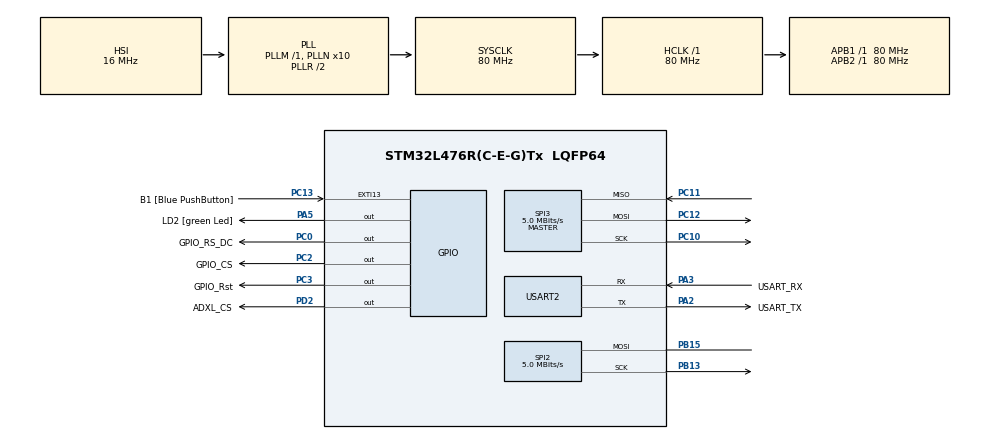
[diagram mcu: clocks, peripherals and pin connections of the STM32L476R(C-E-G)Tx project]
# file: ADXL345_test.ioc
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Mcu.Family=STM32L4
Mcu.Name=STM32L476R(C-E-G)Tx
Mcu.Package=LQFP64
NVIC.PriorityGroup=NVIC_PRIORITYGROUP_4
NVIC.SPI2_IRQn=true\:0\:0\:false\:false\:true\:true\:true
PA13\ (JTMS-SWDIO).GPIO_Label=TMS
PA13\ (JTMS-SWDIO).Mode=Serial_Wire
PA13\ (JTMS-SWDIO).Signal=SYS_JTMS-SWDIO
PA14\ (JTCK-SWCLK).GPIO_Label=TCK
PA14\ (JTCK-SWCLK).Mode=Serial_Wire
PA14\ (JTCK-SWCLK).Signal=SYS_JTCK-SWCLK
PA2.GPIO_Label=USART_TX
PA2.GPIO_Mode=GPIO_MODE_AF_PP
PA2.GPIO_PuPd=GPIO_NOPULL
PA2.GPIO_Speed=GPIO_SPEED_FREQ_VERY_HIGH
PA2.Mode=Asynchronous
PA2.Signal=USART2_TX
PA3.GPIO_Label=USART_RX
PA3.GPIO_Mode=GPIO_MODE_AF_PP
PA3.GPIO_PuPd=GPIO_NOPULL
PA3.GPIO_Speed=GPIO_SPEED_FREQ_VERY_HIGH
PA3.Mode=Asynchronous
PA3.Signal=USART2_RX
PA5.GPIO_Label=LD2 [green Led]
PA5.GPIO_ModeDefaultOutputPP=GPIO_MODE_OUTPUT_PP
PA5.GPIO_PuPd=GPIO_NOPULL
PA5.GPIO_Speed=GPIO_SPEED_FREQ_LOW
PA5.Signal=GPIO_Output
PB13.Mode=Simplex_Bidirectional_Master
PB13.Signal=SPI2_SCK
PB15.Mode=Simplex_Bidirectional_Master
PB15.Signal=SPI2_MOSI
PB3\ (JTDO-TRACESWO).GPIO_Label=SWO
PB3\ (JTDO-TRACESWO).Signal=SYS_JTDO-SWO
PC0.GPIO_Label=GPIO_RS_DC
PC0.Signal=GPIO_Output
PC10.Mode=Full_Duplex_Master
PC10.Signal=SPI3_SCK
PC11.Mode=Full_Duplex_Master
PC11.Signal=SPI3_MISO
PC12.Mode=Full_Duplex_Master
PC12.Signal=SPI3_MOSI
PC13.GPIO_Label=B1 [Blue PushButton]
PC13.GPIO_ModeDefaultEXTI=GPIO_MODE_IT_FALLING
PC13.GPIO_PuPd=GPIO_NOPULL
PC13.Signal=GPXTI13
PC14-OSC32_IN\ (PC14).Mode=LSE-External-Oscillator
PC14-OSC32_IN\ (PC14).Signal=RCC_OSC32_IN
PC15-OSC32_OUT\ (PC15).Mode=LSE-External-Oscillator
PC15-OSC32_OUT\ (PC15).Signal=RCC_OSC32_OUT
PC2.GPIO_Label=GPIO_CS
PC2.Signal=GPIO_Output
PC3.GPIO_Label=GPIO_Rst
PC3.Signal=GPIO_Output
PD2.GPIO_Label=ADXL_CS
PD2.GPIO_Speed=GPIO_SPEED_FREQ_HIGH
PD2.Signal=GPIO_Output
ProjectManager.HeapSize=0x200
ProjectManager.StackSize=0x400
ProjectManager.TargetToolchain=STM32CubeIDE
RCC.ADCFreq_Value=64000000
RCC.AHBFreq_Value=80000000
RCC.APB1Freq_Value=80000000
RCC.APB1TimFreq_Value=80000000
RCC.APB2Freq_Value=80000000
RCC.APB2TimFreq_Value=80000000
RCC.CortexFreq_Value=80000000
RCC.HCLKFreq_Value=80000000
RCC.HSE_VALUE=8000000
RCC.HSI_VALUE=16000000
RCC.MSI_VALUE=4000000
RCC.PLLN=10
RCC.PLLSourceVirtual=RCC_PLLSOURCE_HSI
RCC.PREFETCH_ENABLE=1
RCC.SYSCLKFreq_VALUE=80000000
RCC.SYSCLKSource=RCC_SYSCLKSOURCE_PLLCLK
RCC.USBFreq_Value=64000000
RCC.VCOOutputFreq_Value=160000000
SPI2.BaudRatePrescaler=SPI_BAUDRATEPRESCALER_16
SPI2.CLKPhase=SPI_PHASE_1EDGE
SPI2.CLKPolarity=SPI_POLARITY_LOW
SPI2.CRCCalculation=SPI_CRCCALCULATION_DISABLE
SPI2.CalculateBaudRate=5.0 MBits/s
SPI2.DataSize=SPI_DATASIZE_8BIT
SPI2.Direction=SPI_DIRECTION_1LINE
SPI2.Mode=SPI_MODE_MASTER
SPI2.VirtualType=VM_MASTER
SPI3.BaudRatePrescaler=SPI_BAUDRATEPRESCALER_16
SPI3.CLKPhase=SPI_PHASE_2EDGE
SPI3.CLKPolarity=SPI_POLARITY_HIGH
SPI3.CalculateBaudRate=5.0 MBits/s
SPI3.DataSize=SPI_DATASIZE_8BIT
SPI3.Direction=SPI_DIRECTION_2LINES
SPI3.Mode=SPI_MODE_MASTER
SPI3.VirtualType=VM_MASTER
USART2.VirtualMode-Asynchronous=VM_ASYNC
board=NUCLEO-L476RG

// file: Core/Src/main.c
/* USER CODE BEGIN Header */
/**
  ******************************************************************************
  * @file           : main.c
  * @brief          : Main program body
  ******************************************************************************
  * @attention
  *
  * <h2><center>&copy; Copyright (c) 2021 STMicroelectronics.
  * All rights reserved.</center></h2>
  *
  * This software component is licensed by ST under BSD 3-Clause license,
  * the "License"; You may not use this file except in compliance with the
  * License. You may obtain a copy of the License at:
  *                        opensource.org/licenses/BSD-3-Clause
  *
  ******************************************************************************
  */
/* USER CODE END Header */
#include "main.h"

/* USER CODE BEGIN Includes */

#include <string.h>
#include <stdio.h>
#include "st7735.h"
#include "fonts.h"
#include "testimg.h"
#include "ADXL.h"

/* USER CODE END Includes */

SPI_HandleTypeDef hspi2;
SPI_HandleTypeDef hspi3;

UART_HandleTypeDef huart2;

/* USER CODE BEGIN PV */

uint16_t data_rec[6];
uint16_t acc[3];
int16_t x, y, z;
float xg, yg, zg;
char x_str[50];
char y_str[50];
char z_str[50];
char xg_str[50];
char yg_str[50];
char zg_str[50];

/* USER CODE END PV */

void SystemClock_Config(void);
static void MX_GPIO_Init(void);
static void MX_USART2_UART_Init(void);
static void MX_SPI2_Init(void);
static void MX_SPI3_Init(void);

/* USER CODE BEGIN 0 */

/*

void adxl_write (uint8_t address, uint8_t value)
{
	uint8_t data[2];
	data[0] = address | 0x40;  // multibyte write
	data[1] = value;
	HAL_GPIO_WritePin (ADXL_CS_GPIO_Port, ADXL_CS_Pin, GPIO_PIN_RESET);  // pull the cs pin low
	HAL_SPI_Transmit (&hspi3, data, 2, 100);  // write data to register
	HAL_GPIO_WritePin (ADXL_CS_GPIO_Port, ADXL_CS_Pin, GPIO_PIN_SET);  // pull the cs pin high
}

void adxl_read (uint8_t address)
{
	address |= 0x80;  // read operation
	address |= 0x40;  // multibyte read
	uint8_t rec;
	HAL_GPIO_WritePin (ADXL_CS_GPIO_Port, ADXL_CS_Pin, GPIO_PIN_RESET);  // pull the pin low
	HAL_SPI_Transmit (&hspi3, &address, 1, 100);  // send address
	HAL_SPI_Receive (&hspi3, data_rec, 6, 100);  // receive 6 bytes data
	HAL_GPIO_WritePin (ADXL_CS_GPIO_Port, ADXL_CS_Pin, GPIO_PIN_SET);  // pull the pin high
}

void adxl_init (void)
{
	adxl_write (0x31, 0x01);  // data_format range= +- 4g
	adxl_write (0x2D, 0x00);  // reset all bits
	adxl_write (0x2D, 0x08);  // power_cntl measure and wake up 8hz
}
*/

void ST7735init() {
    ST7735_Init();

    const char ready[] = "Ready!\r\n";
    HAL_UART_Transmit(&huart2, (uint8_t*)ready, sizeof(ready)-1, HAL_MAX_DELAY);
}

void loop() {
    // Check border
    ST7735_FillScreen(ST7735_BLACK);

    for(int x = 0; x < ST7735_WIDTH; x++) {
        ST7735_DrawPixel(x, 0, ST7735_RED);
        ST7735_DrawPixel(x, ST7735_HEIGHT-1, ST7735_RED);
    }

    for(int y = 0; y < ST7735_HEIGHT; y++) {
        ST7735_DrawPixel(0, y, ST7735_RED);
        ST7735_DrawPixel(ST7735_WIDTH-1, y, ST7735_RED);
    }

    HAL_Delay(3000);

    // Check fonts
    ST7735_FillScreen(ST7735_BLACK);
    ST7735_WriteString(0, 0, "Font_7x10, red on black, lorem ipsum dolor sit amet", Font_7x10, ST7735_RED, ST7735_BLACK);
    ST7735_WriteString(0, 3*10, "Font_11x18, green, lorem ipsum", Font_11x18, ST7735_GREEN, ST7735_BLACK);
    ST7735_WriteString(0, 3*10+3*18, "Font_16x26", Font_16x26, ST7735_BLUE, ST7735_BLACK);
    HAL_Delay(2000);

    // Check colors
    ST7735_FillScreen(ST7735_BLACK);
    ST7735_WriteString(0, 0, "BLACK", Font_11x18, ST7735_WHITE, ST7735_BLACK);
    HAL_Delay(500);

    ST7735_FillScreen(ST7735_BLUE);
    ST7735_WriteString(0, 0, "BLUE", Font_11x18, ST7735_BLACK, ST7735_BLUE);
    HAL_Delay(500);

    ST7735_FillScreen(ST7735_RED);
    ST7735_WriteString(0, 0, "RED", Font_11x18, ST7735_BLACK, ST7735_RED);
    HAL_Delay(500);

    ST7735_FillScreen(ST7735_GREEN);
    ST7735_WriteString(0, 0, "GREEN", Font_11x18, ST7735_BLACK, ST7735_GREEN);
    HAL_Delay(500);

    ST7735_FillScreen(ST7735_CYAN);
    ST7735_WriteString(0, 0, "CYAN", Font_11x18, ST7735_BLACK, ST7735_CYAN);
    HAL_Delay(500);

    ST7735_FillScreen(ST7735_MAGENTA);
    ST7735_WriteString(0, 0, "MAGENTA", Font_11x18, ST7735_BLACK, ST7735_MAGENTA);
    HAL_Delay(500);

    ST7735_FillScreen(ST7735_YELLOW);
    ST7735_WriteString(0, 0, "YELLOW", Font_11x18, ST7735_BLACK, ST7735_YELLOW);
    HAL_Delay(500);

    ST7735_FillScreen(ST7735_WHITE);
    ST7735_WriteString(0, 0, "WHITE", Font_11x18, ST7735_BLACK, ST7735_WHITE);
    HAL_Delay(500);

#ifdef ST7735_IS_128X128
    // Display test image 128x128
    ST7735_DrawImage(0, 0, ST7735_WIDTH, ST7735_HEIGHT, (uint16_t*)test_img_128x128);

/*
    // Display test image 128x128 pixel by pixel
    for(int x = 0; x < ST7735_WIDTH; x++) {
        for(int y = 0; y < ST7735_HEIGHT; y++) {
            uint16_t color565 = test_img_128x128[y][x];
            // fix endiness
            color565 = ((color565 & 0xFF00) >> 8) | ((color565 & 0xFF) << 8);
            ST7735_DrawPixel(x, y, color565);
        }
    }
*/
    HAL_Delay(10000);
#endif // ST7735_IS_128X128

}

/* USER CODE END 0 */

int main(void)
{

  /* MCU Configuration--------------------------------------------------------*/

  /* Reset of all peripherals, Initializes the Flash interface and the Systick. */
  HAL_Init();

  /* Configure the system clock */
  SystemClock_Config();

  /* Initialize all configured peripherals */
  MX_GPIO_Init();
  MX_USART2_UART_Init();
  MX_SPI2_Init();
  MX_SPI3_Init();
  /* USER CODE BEGIN 2 */

  //  adxl_init();

  ST7735init();

  ADXL_InitTypeDef ADXL_InitStruct;
  ADXL_InitStruct.SPIMode = SPIMODE_4WIRE;
//  ADXL_InitStruct.IntMode = ;
  ADXL_InitStruct.LPMode = LPMODE_NORMAL;
//  ADXL_InitStruct.Rate = ;
  ADXL_InitStruct.Range = RANGE_2G;
  ADXL_InitStruct.Resolution = RESOLUTION_10BIT;
  ADXL_InitStruct.Justify = JUSTIFY_MSB;
  ADXL_InitStruct.AutoSleep = AUTOSLEEPOFF;
  ADXL_InitStruct.LinkMode = LINKMODEOFF;

  ADXL_Init(&ADXL_InitStruct);

  /* USER CODE END 2 */

  /* Infinite loop */
  /* USER CODE BEGIN WHILE */
  while (1)
  {
	  // loop();

    /* USER CODE END WHILE */

    /* USER CODE BEGIN 3 */
	  ADXL_Measure(ON);

	  // READ DATA
//	  ADXL_getAccel(data_rec, OUTPUT_FLOAT);
	  ADXL_getAccel(acc, OUTPUT_SIGNED);

// adxl_read(0x32);
	  xg = acc[0]; //((data_rec[1]<<8)|data_rec[0]);
	  yg = acc[1]; //((data_rec[3]<<8)|data_rec[2]);
	  zg = acc[2]; //((data_rec[5]<<8)|data_rec[4]);

	  /*
	  // Convert into 'g'

	  xg = x * 0.0078;
	  yg = y * 0.0078;
	  zg = z * 0.0078;
*/

	  // CONVERT TO STRING
	  sprintf(x_str,"%d", x);
	  sprintf(y_str,"%d", y);
	  sprintf(z_str,"%d", z);

	  sprintf(xg_str,"%f", xg);
	  sprintf(yg_str,"%f", yg);
	  sprintf(zg_str,"%f", zg);

	  // DISPLAY RESULT

	  ST7735_FillScreen(ST7735_BLACK);
	  ST7735_WriteString(2, 0, "x :", Font_7x10, ST7735_RED, ST7735_BLACK);
	  ST7735_WriteString(12, 10, x_str, Font_11x18, ST7735_GREEN, ST7735_BLACK);
	  ST7735_WriteString(12, 20, xg_str, Font_11x18, ST7735_GREEN, ST7735_BLACK);

	  ST7735_WriteString(2, 40, "y :", Font_7x10, ST7735_RED, ST7735_BLACK);
	  ST7735_WriteString(12, 50, y_str, Font_11x18, ST7735_GREEN, ST7735_BLACK);
	  ST7735_WriteString(12, 60, yg_str, Font_11x18, ST7735_GREEN, ST7735_BLACK);

	  ST7735_WriteString(2, 80, "z :", Font_7x10, ST7735_RED, ST7735_BLACK);
	  ST7735_WriteString(12, 90, z_str, Font_11x18, ST7735_GREEN, ST7735_BLACK);
	  ST7735_WriteString(12, 100, zg_str, Font_11x18, ST7735_GREEN, ST7735_BLACK);

/*
	  if (HAL_GPIO_ReadPin(B1_GPIO_Port, B1_Pin) == 0) {
		  HAL_GPIO_TogglePin(LD2_GPIO_Port, LD2_Pin);
		  SPI_Transmit_Test(0x32);
		  //HAL_GPIO_WritePin(ADXL_CS_GPIO_Port, ADXL_CS_Pin, GPIO_PIN_SET);
		  //HAL_Delay(100);
		  //HAL_GPIO_WritePin(ADXL_CS_GPIO_Port, ADXL_CS_Pin, GPIO_PIN_RESET);
	}
*/

  }
  /* USER CODE END 3 */
}

void SystemClock_Config(void)
{
  RCC_OscInitTypeDef RCC_OscInitStruct = {0};
  RCC_ClkInitTypeDef RCC_ClkInitStruct = {0};

  /** Configure the main internal regulator output voltage
  */
  if (HAL_PWREx_ControlVoltageScaling(PWR_REGULATOR_VOLTAGE_SCALE1) != HAL_OK)
  {
    Error_Handler();
  }
  /** Initializes the RCC Oscillators according to the specified parameters
  * in the RCC_OscInitTypeDef structure.
  */
  RCC_OscInitStruct.OscillatorType = RCC_OSCILLATORTYPE_HSI;
  RCC_OscInitStruct.HSIState = RCC_HSI_ON;
  RCC_OscInitStruct.HSICalibrationValue = RCC_HSICALIBRATION_DEFAULT;
  RCC_OscInitStruct.PLL.PLLState = RCC_PLL_ON;
  RCC_OscInitStruct.PLL.PLLSource = RCC_PLLSOURCE_HSI;
  RCC_OscInitStruct.PLL.PLLM = 1;
  RCC_OscInitStruct.PLL.PLLN = 10;
  RCC_OscInitStruct.PLL.PLLP = RCC_PLLP_DIV7;
  RCC_OscInitStruct.PLL.PLLQ = RCC_PLLQ_DIV2;
  RCC_OscInitStruct.PLL.PLLR = RCC_PLLR_DIV2;
  if (HAL_RCC_OscConfig(&RCC_OscInitStruct) != HAL_OK)
  {
    Error_Handler();
  }
  /** Initializes the CPU, AHB and APB buses clocks
  */
  RCC_ClkInitStruct.ClockType = RCC_CLOCKTYPE_HCLK|RCC_CLOCKTYPE_SYSCLK
                              |RCC_CLOCKTYPE_PCLK1|RCC_CLOCKTYPE_PCLK2;
  RCC_ClkInitStruct.SYSCLKSource = RCC_SYSCLKSOURCE_PLLCLK;
  RCC_ClkInitStruct.AHBCLKDivider = RCC_SYSCLK_DIV1;
  RCC_ClkInitStruct.APB1CLKDivider = RCC_HCLK_DIV1;
  RCC_ClkInitStruct.APB2CLKDivider = RCC_HCLK_DIV1;

  if (HAL_RCC_ClockConfig(&RCC_ClkInitStruct, FLASH_LATENCY_4) != HAL_OK)
  {
    Error_Handler();
  }
}

static void MX_SPI2_Init(void)
{

  /* SPI2 parameter configuration*/
  hspi2.Instance = SPI2;
  hspi2.Init.Mode = SPI_MODE_MASTER;
  hspi2.Init.Direction = SPI_DIRECTION_1LINE;
  hspi2.Init.DataSize = SPI_DATASIZE_8BIT;
  hspi2.Init.CLKPolarity = SPI_POLARITY_LOW;
  hspi2.Init.CLKPhase = SPI_PHASE_1EDGE;
  hspi2.Init.NSS = SPI_NSS_SOFT;
  hspi2.Init.BaudRatePrescaler = SPI_BAUDRATEPRESCALER_16;
  hspi2.Init.FirstBit = SPI_FIRSTBIT_MSB;
  hspi2.Init.TIMode = SPI_TIMODE_DISABLE;
  hspi2.Init.CRCCalculation = SPI_CRCCALCULATION_DISABLE;
  hspi2.Init.CRCPolynomial = 7;
  hspi2.Init.CRCLength = SPI_CRC_LENGTH_DATASIZE;
  hspi2.Init.NSSPMode = SPI_NSS_PULSE_ENABLE;
  if (HAL_SPI_Init(&hspi2) != HAL_OK)
  {
    Error_Handler();
  }

}

static void MX_SPI3_Init(void)
{

  /* SPI3 parameter configuration*/
  hspi3.Instance = SPI3;
  hspi3.Init.Mode = SPI_MODE_MASTER;
  hspi3.Init.Direction = SPI_DIRECTION_2LINES;
  hspi3.Init.DataSize = SPI_DATASIZE_8BIT;
  hspi3.Init.CLKPolarity = SPI_POLARITY_HIGH;
  hspi3.Init.CLKPhase = SPI_PHASE_2EDGE;
  hspi3.Init.NSS = SPI_NSS_SOFT;
  hspi3.Init.BaudRatePrescaler = SPI_BAUDRATEPRESCALER_16;
  hspi3.Init.FirstBit = SPI_FIRSTBIT_MSB;
  hspi3.Init.TIMode = SPI_TIMODE_DISABLE;
  hspi3.Init.CRCCalculation = SPI_CRCCALCULATION_DISABLE;
  hspi3.Init.CRCPolynomial = 7;
  hspi3.Init.CRCLength = SPI_CRC_LENGTH_DATASIZE;
  hspi3.Init.NSSPMode = SPI_NSS_PULSE_DISABLE;
  if (HAL_SPI_Init(&hspi3) != HAL_OK)
  {
    Error_Handler();
  }

}

static void MX_USART2_UART_Init(void)
{

  huart2.Instance = USART2;
  huart2.Init.BaudRate = 115200;
  huart2.Init.WordLength = UART_WORDLENGTH_8B;
  huart2.Init.StopBits = UART_STOPBITS_1;
  huart2.Init.Parity = UART_PARITY_NONE;
  huart2.Init.Mode = UART_MODE_TX_RX;
  huart2.Init.HwFlowCtl = UART_HWCONTROL_NONE;
  huart2.Init.OverSampling = UART_OVERSAMPLING_16;
  huart2.Init.OneBitSampling = UART_ONE_BIT_SAMPLE_DISABLE;
  huart2.AdvancedInit.AdvFeatureInit = UART_ADVFEATURE_NO_INIT;
  if (HAL_UART_Init(&huart2) != HAL_OK)
  {
    Error_Handler();
  }

}

static void MX_GPIO_Init(void)
{
  GPIO_InitTypeDef GPIO_InitStruct = {0};

  /* GPIO Ports Clock Enable */
  __HAL_RCC_GPIOC_CLK_ENABLE();
  __HAL_RCC_GPIOA_CLK_ENABLE();
  __HAL_RCC_GPIOB_CLK_ENABLE();
  __HAL_RCC_GPIOD_CLK_ENABLE();

  /*Configure GPIO pin Output Level */
  HAL_GPIO_WritePin(GPIOC, GPIO_RS_DC_Pin|GPIO_CS_Pin|GPIO_Rst_Pin, GPIO_PIN_RESET);

  /*Configure GPIO pin Output Level */
  HAL_GPIO_WritePin(LD2_GPIO_Port, LD2_Pin, GPIO_PIN_RESET);

  /*Configure GPIO pin Output Level */
  HAL_GPIO_WritePin(ADXL_CS_GPIO_Port, ADXL_CS_Pin, GPIO_PIN_RESET);

  /*Configure GPIO pin : B1_Pin */
  GPIO_InitStruct.Pin = B1_Pin;
  GPIO_InitStruct.Mode = GPIO_MODE_IT_FALLING;
  GPIO_InitStruct.Pull = GPIO_NOPULL;
  HAL_GPIO_Init(B1_GPIO_Port, &GPIO_InitStruct);

  /*Configure GPIO pins : GPIO_RS_DC_Pin GPIO_CS_Pin GPIO_Rst_Pin */
  GPIO_InitStruct.Pin = GPIO_RS_DC_Pin|GPIO_CS_Pin|GPIO_Rst_Pin;
  GPIO_InitStruct.Mode = GPIO_MODE_OUTPUT_PP;
  GPIO_InitStruct.Pull = GPIO_NOPULL;
  GPIO_InitStruct.Speed = GPIO_SPEED_FREQ_LOW;
  HAL_GPIO_Init(GPIOC, &GPIO_InitStruct);

  /*Configure GPIO pin : LD2_Pin */
  GPIO_InitStruct.Pin = LD2_Pin;
  GPIO_InitStruct.Mode = GPIO_MODE_OUTPUT_PP;
  GPIO_InitStruct.Pull = GPIO_NOPULL;
  GPIO_InitStruct.Speed = GPIO_SPEED_FREQ_LOW;
  HAL_GPIO_Init(LD2_GPIO_Port, &GPIO_InitStruct);

  /*Configure GPIO pin : ADXL_CS_Pin */
  GPIO_InitStruct.Pin = ADXL_CS_Pin;
  GPIO_InitStruct.Mode = GPIO_MODE_OUTPUT_PP;
  GPIO_InitStruct.Pull = GPIO_NOPULL;
  GPIO_InitStruct.Speed = GPIO_SPEED_FREQ_HIGH;
  HAL_GPIO_Init(ADXL_CS_GPIO_Port, &GPIO_InitStruct);

}

void Error_Handler(void)
{
  __disable_irq();
  while (1)
  {
  }
}

/************************ (C) COPYRIGHT STMicroelectronics *****END OF FILE****/
